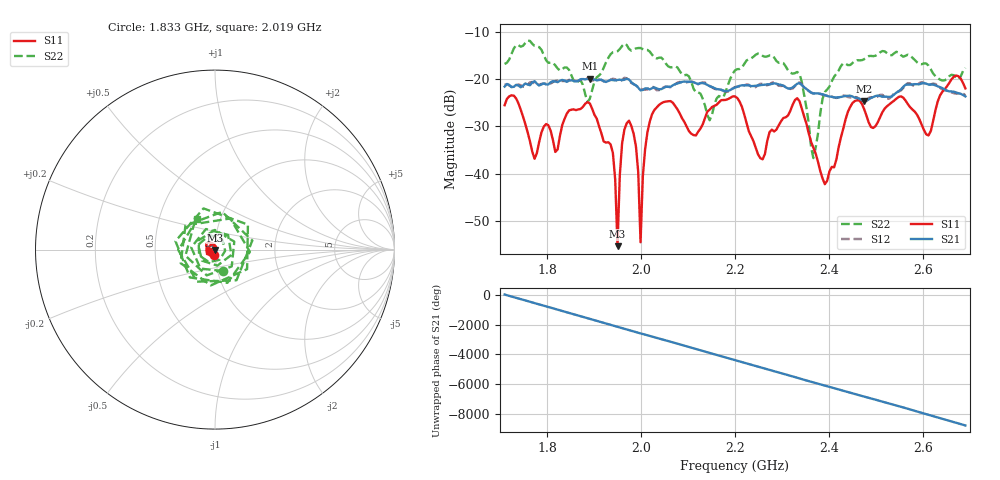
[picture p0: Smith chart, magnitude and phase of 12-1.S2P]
!Agilent Technologies,E5061B,MY49305579,A.02.22
!Date: Thu Aug 24 16:21:59 2017
!Data & Calibration Information:
!Freq	S11:SOLT2(ON)	S21:SOLT2(ON)	S12:SOLT2(ON)	S22:SOLT2(ON)
# Hz S dB R 50
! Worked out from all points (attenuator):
!   201 points, 1.71 GHz to 2.69 GHz, reference 50 ohm
!   highest |S21| = -19.88 dB at 1.891 GHz (marker M1); lowest = -24.7 dB at 2.474 GHz (marker M2)
!   lowest |S11| = -55.4 dB at 1.95 GHz (marker M3), VSWR 1.00, Z = 50.1 - j0.16 ohm
!   |S11| at or under -10 dB: start of sweep to end of sweep
!   |S22| runs from -36.7 to -11.8 dB; largest |S21 - S12| = 0.0066
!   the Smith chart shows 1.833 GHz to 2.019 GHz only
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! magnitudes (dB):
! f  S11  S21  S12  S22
! 1.71 GHz  -25.5  -21.6  -21.2  -16.8
! 1.774 GHz  -36.9  -20.4  -20.9  -12.9
! 1.877 GHz  -25.9  -20.0  -19.9  -21.2
! 1.891 GHz  -25.2  -19.9  -20.1  -24.1
! 1.94 GHz  -35.6  -20.2  -19.9  -14.3
! 1.95 GHz  -55.4  -20.2  -20.4  -14.1
! 1.955 GHz  -40.3  -20.1  -20.5  -13.6
! 1.965 GHz  -30.7  -20.1  -19.7  -12.5
! 1.989 GHz  -34.2  -21.3  -21.3  -13.5
! 1.999 GHz  -54.6  -22.4  -22.0  -13.4
! 2.009 GHz  -34.7  -21.9  -22.2  -13.8
! 2.038 GHz  -25.5  -22.1  -22.3  -15.4
! 2.146 GHz  -26.5  -21.5  -21.4  -28.7
! 2.2 GHz  -23.7  -21.8  -21.7  -18.1
! 2.259 GHz  -37.0  -21.2  -21.0  -15.1
! 2.337 GHz  -24.7  -20.8  -20.7  -18.8
! 2.367 GHz  -34.5  -23.0  -23.1  -36.7
! 2.391 GHz  -42.3  -23.4  -23.4  -22.7
! 2.474 GHz  -26.3  -24.7  -24.8  -15.8
! 2.528 GHz  -25.3  -23.8  -24.1  -14.8
! 2.612 GHz  -31.9  -21.1  -21.2  -17.1
! 2.69 GHz  -21.9  -23.7  -23.4  -17.6
